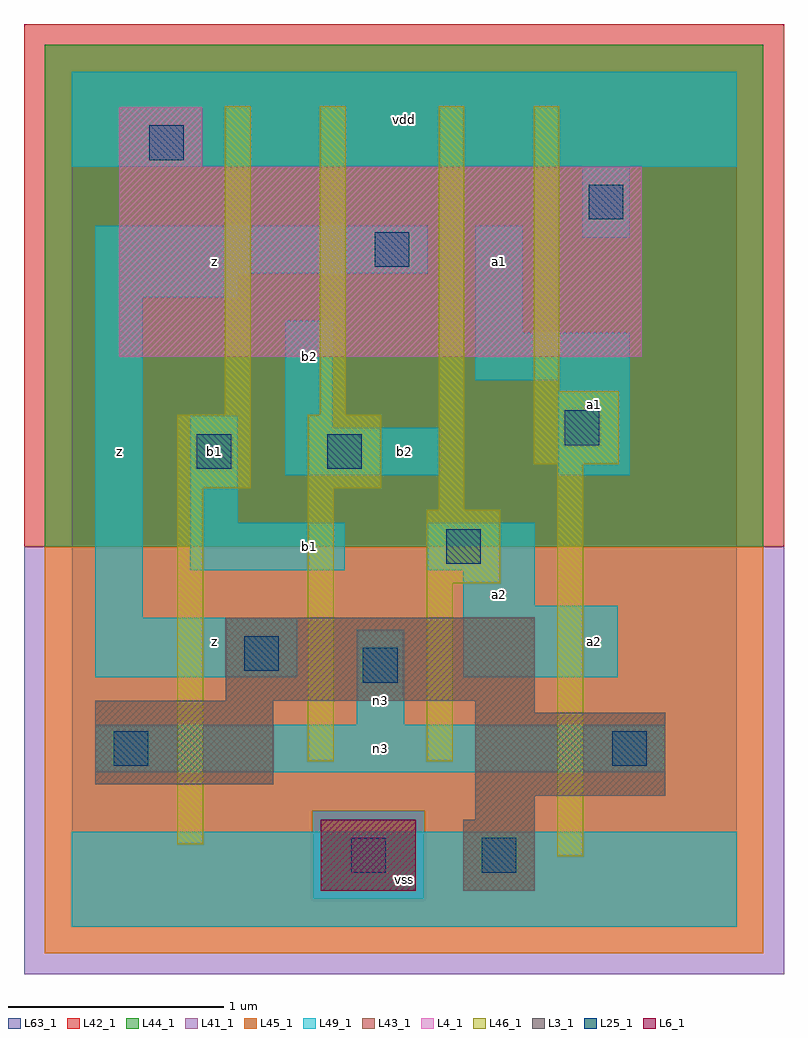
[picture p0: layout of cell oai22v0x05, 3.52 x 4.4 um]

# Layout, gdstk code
import gdstk
lib = gdstk.Library(unit=1e-6, precision=1e-09)
def R(c, l, rs):  # rectangles x0, y0, x1, y1
    for r in rs: c.add(gdstk.rectangle(r[:2], r[2:], *l))
L3_1 = (3, 1)
L4_1 = (4, 1)
L6_1 = (6, 1)
L25_1 = (25, 1)
L41_1 = (41, 1)
L42_1 = (42, 1)
L43_1 = (43, 1)
L44_1 = (44, 1)
L45_1 = (45, 1)
L46_1 = (46, 1)
L49_1 = (49, 1)
L63_1 = (63, 1)

oai22v0x05 = lib.new_cell('oai22v0x05')
R(oai22v0x05, L3_1, [(1.815,0.165,2.145,0.495), (1.87,0.495,2.145,0.605), (1.87,0.605,2.75,0.99), (0.11,0.66,0.935,1.045), (1.87,0.99,2.145,1.045), (0.715,1.045,2.145,1.43)])
R(oai22v0x05, L4_1, [(0.22,2.64,2.64,3.52), (0.22,3.52,0.605,3.795)])
R(oai22v0x05, L6_1, [(1.155,0.165,1.595,0.495)])
R(oai22v0x05, L25_1, [(1.295,0.25,1.455,0.41), (1.9,0.25,2.06,0.41), (0.195,0.745,0.355,0.905), (2.505,0.745,2.665,0.905), (1.35,1.13,1.51,1.29), (0.8,1.185,0.96,1.345), (1.735,1.68,1.895,1.84), (0.58,2.12,0.74,2.28), (1.185,2.12,1.345,2.28), (2.285,2.23,2.445,2.39), (1.405,3.055,1.565,3.215), (2.395,3.275,2.555,3.435), (0.36,3.55,0.52,3.71)])
R(oai22v0x05, L41_1, [(-0.22,-0.22,3.3,1.76)])
R(oai22v0x05, L42_1, [(-0.22,1.76,3.3,4.18)])
R(oai22v0x05, L43_1, [(1.155,0.165,1.595,0.495), (1.815,0.165,2.145,0.495), (1.87,0.495,2.145,0.605), (1.87,0.605,2.75,0.99), (0.11,0.66,0.935,1.045), (1.87,0.99,2.145,1.045), (0.715,1.045,2.145,1.43), (0.22,2.64,2.64,3.52), (0.22,3.52,0.605,3.795)])
R(oai22v0x05, L44_1, [(1.115,0.125,1.635,0.535), (-0.125,1.76,3.205,4.085)])
R(oai22v0x05, L45_1, [(-0.125,-0.125,3.205,0.125), (-0.125,0.125,1.115,0.535), (1.635,0.125,3.205,0.535), (-0.125,0.535,3.205,1.76)])
R(oai22v0x05, L46_1, [(2.25,0.325,2.37,2.14), (0.49,0.38,0.61,2.03), (1.095,0.765,1.215,2.03), (1.645,0.765,1.765,1.59), (1.645,1.59,1.985,1.93), (1.7,1.93,1.82,3.8), (0.49,2.03,0.83,2.37), (1.095,2.03,1.435,2.37), (2.14,2.14,2.535,2.48), (0.71,2.37,0.83,3.8), (1.15,2.37,1.27,3.8), (2.14,2.48,2.26,3.8)])
R(oai22v0x05, L49_1, [(0,0,3.08,0.44), (0.11,0.715,2.75,0.935), (1.32,0.935,1.54,1.375), (0.11,1.155,1.045,1.43), (1.815,1.155,2.53,1.485), (0.11,1.43,0.33,2.915), (1.815,1.485,2.145,1.65), (0.55,1.65,1.265,1.87), (1.65,1.65,2.145,1.87), (0.55,1.87,0.77,2.365), (0.99,2.09,1.705,2.31), (2.255,2.09,2.585,2.53), (0.99,2.31,1.21,2.805), (1.87,2.53,2.585,2.75), (1.87,2.75,2.09,3.245), (0.11,2.915,0.77,3.025), (0.11,3.025,1.65,3.245), (2.365,3.19,2.585,3.52), (0,3.52,3.08,3.96)])
R(oai22v0x05, L63_1, [(0,0,3.08,3.96)])
oai22v0x05.add(gdstk.Label('z', (0.22,2.2), layer=49, texttype=1))
oai22v0x05.add(gdstk.Label('z', (0.66,1.32), layer=49, texttype=1))
oai22v0x05.add(gdstk.Label('b1', (1.1,1.76), layer=49, texttype=1))
oai22v0x05.add(gdstk.Label('b1', (0.66,2.2), layer=49, texttype=1))
oai22v0x05.add(gdstk.Label('b2', (1.1,2.64), layer=49, texttype=1))
oai22v0x05.add(gdstk.Label('z', (0.66,3.08), layer=49, texttype=1))
oai22v0x05.add(gdstk.Label('vss', (1.54,0.22), layer=49, texttype=1))
oai22v0x05.add(gdstk.Label('n3', (1.43,1.045), layer=49, texttype=1))
oai22v0x05.add(gdstk.Label('a2', (1.98,1.54), layer=49, texttype=1))
oai22v0x05.add(gdstk.Label('b2', (1.54,2.2), layer=49, texttype=1))
oai22v0x05.add(gdstk.Label('a1', (1.98,3.08), layer=49, texttype=1))
oai22v0x05.add(gdstk.Label('vdd', (1.54,3.74), layer=49, texttype=1))
oai22v0x05.add(gdstk.Label('n3', (1.43,0.825), layer=49, texttype=1))
oai22v0x05.add(gdstk.Label('a2', (2.42,1.32), layer=49, texttype=1))
oai22v0x05.add(gdstk.Label('a1', (2.42,2.42), layer=49, texttype=1))

lib.write_gds('oai22v0x05.gds')
